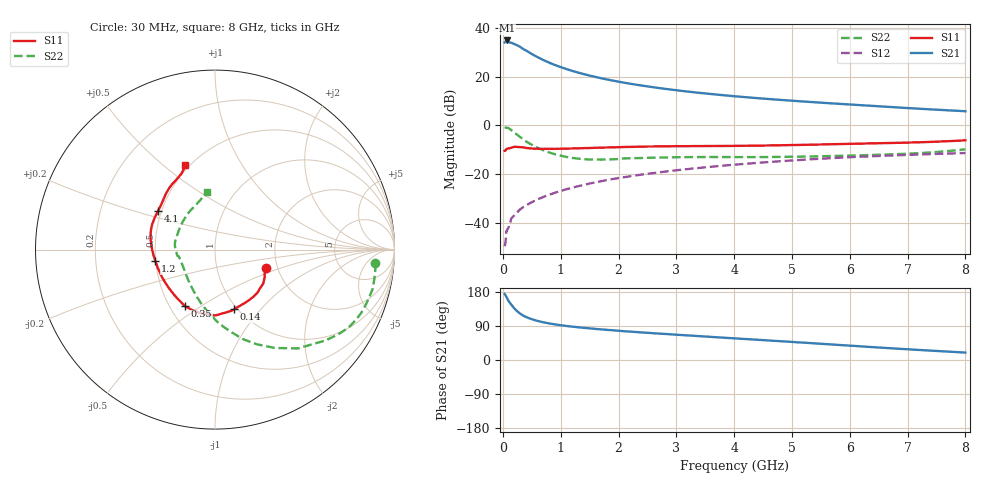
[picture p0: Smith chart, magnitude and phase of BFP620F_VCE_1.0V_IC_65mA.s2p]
! Infineon Technologies  Discrete & RF Semiconductors
! BFP620F
! VCE =  1.0 V,  IC =  65 mA
! Common Emitter S-Parameters:  Dec 2014
# GHz  S  MA  R  50
!  f  S11  S21  S12  S22
! GHz  MAG  ANG  MAG  ANG  MAG  ANG  MAG  ANG
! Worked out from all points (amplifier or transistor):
!   95 points, 30 MHz to 8 GHz, reference 50 ohm
!   highest |S21| = 34.8 dB at 70 MHz (marker M1)
!   |S21| within 3 dB of that: start of sweep to 321.4 MHz
!   unconditionally stable (mu >= 1): 1.598 GHz to end of sweep
!   at 300 MHz: K = 0.55, MSG = 33.2 dB, |S12| = -34.3 dB
!   at 3.3 GHz: K = 1.04, MAG = 14.4 dB, |S12| = -17.6 dB
!   at 8 GHz: K = 1.06, MAG = 7.1 dB, |S12| = -11.3 dB
!   S11 on the Smith chart (normalised r, x): 30 MHz: 1.74, -0.40; 140 MHz: 0.97, -0.73; 350 MHz: 0.60, -0.43; 1.2 GHz: 0.50, -0.07; 4.1 GHz: 0.48, +0.24; 8 GHz: 0.48, +0.59
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0.03  0.303 -20.0  49.82 174.3  0.0034 89.4  0.8974 -4.9
0.05  0.3183 -29.8  53.16 169.8  0.0046 100.2  0.9032 -11.1
0.07  0.331 -40.8  54.84 163.7  0.007 75.9  0.899 -17.4
0.09  0.3386 -50.4  53.37 158.0  0.0078 81.3  0.8879 -23.3
0.12  0.3419 -64.7  49.76 151.1  0.0102 74.9  0.85 -32.0
0.14  0.349 -72.1  49.17 147.2  0.012 72.7  0.8129 -37.1
0.2  0.3673 -90.0  46.19 135.7  0.0146 70.0  0.7186 -50.0
0.25  0.3641 -101.4  43.55 128.4  0.0169 68.4  0.6421 -58.6
0.3  0.3602 -110.1  40.43 122.1  0.0193 66.8  0.5773 -66.1
0.35  0.3573 -117.9  36.78 117.4  0.0213 65.9  0.5238 -72.5
0.45  0.3428 -128.5  31.52 110.3  0.025 65.5  0.437 -83.1
0.5  0.3383 -133.5  29.02 107.6  0.027 66.1  0.4029 -88.1
0.7  0.3322 -148.2  21.79 99.5  0.0345 66.8  0.3115 -104.1
0.9  0.3322 -158.3  17.28 94.0  0.042 67.3  0.2583 -117.8
1.2  0.339 -169.0  13.08 88.1  0.0534 67.2  0.2175 -135.9
1.4  0.3442 -174.4  11.24 84.9  0.061 66.6  0.2049 -146.8
1.9  0.3569 174.8  8.286 78.4  0.0803 64.9  0.2035 -167.1
2.7  0.3738 162.4  5.838 69.7  0.11 60.3  0.2203 178.8
4.1  0.3837 145.5  3.879 56.2  0.161 50.9  0.2256 162.9
5.4  0.4065 133.8  2.984 43.8  0.2059 41.0  0.2335 143.3
6.7  0.4383 121.8  2.389 31.1  0.2427 30.3  0.2568 122.4
8  0.4974 109.4  1.955 19.5  0.273 20.1  0.3249 98.3
